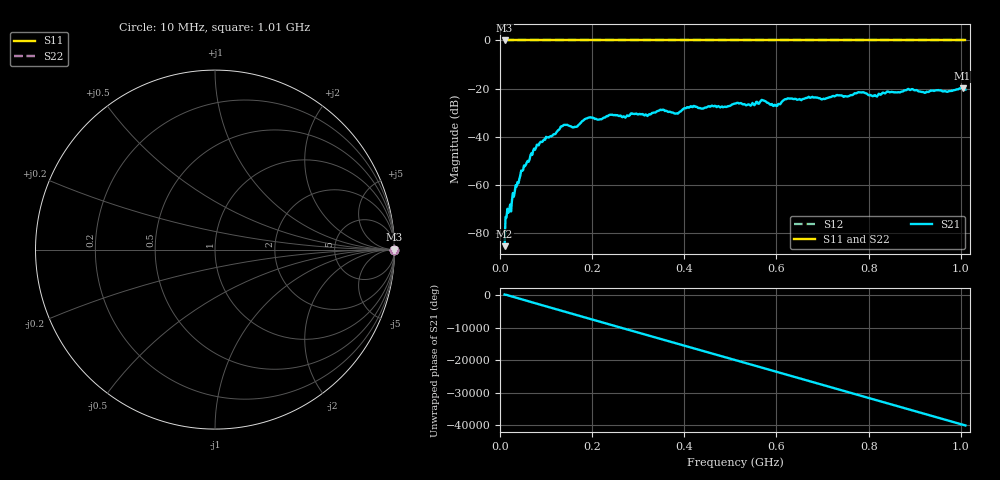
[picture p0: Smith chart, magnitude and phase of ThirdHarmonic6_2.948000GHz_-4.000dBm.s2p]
! 8/17/2025 8:16:50 AM
! C:\ANRITSUVNA\TEMP\TEMP.S2P
! CHANNEL.1
! TR.MEASUREMENT
! RAW.DATA
! RF.CORRECTION.OFF
! AVERAGING.OFF
! IF.BANDWIDTH: 5KHZ
! SWEEPTYPE:  FREQ.SWEEP(Linear)
! Reference Plane Port Info
! PORT:  PORT1  PORT2
! DISTANCE:  0  m  0  m
! TIME:  0  s  0  s
! PHASE.OFFSET:  0  deg.  0  deg.
! LOSS:  0  dB  0  dB
! REF.LOSS:  0  dB  0  dB
! REF.FREQ:  0  Hz  0  Hz
! Power Info
! POWER:  -20  dBm  -20  dBm
! EFF.POWER:  -20  dBm  -20  dBm
! SOURCE.ATTEN:  0  dB  0  dB
! TEST.ATTEN:  0  dB  0  dB
# GHZ S RI R 50.0
! FREQ.GHZ  S11RE  S11IM  S21RE  S21IM  S12RE  S12IM  S22RE  S22IM
!; PortSelection: Port_12
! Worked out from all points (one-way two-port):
!   501 points, 10 MHz to 1.01 GHz, reference 50 ohm
!   highest |S21| = -19.89 dB at 1.004 GHz (marker M1); lowest = -85.6 dB at 10 MHz (marker M2)
!   lowest |S11| = 0.0 dB at 10 MHz (marker M3)
!   |S11| at or under -10 dB: nowhere
!   |S22| runs from 0.0 to 0.0 dB; largest |S21 - S12| = 1.1
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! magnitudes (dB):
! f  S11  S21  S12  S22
! 10 MHz  0.0  -85.6  0.0  0.0
! 16 MHz  0.0  -70.1  0.0  0.0
! 48 MHz  0.0  -54.2  0.0  0.0
! 76 MHz  0.0  -45.5  0.0  0.0
! 136 MHz  0.0  -35.6  0.0  0.0
! 162 MHz  0.0  -36.0  0.0  0.0
! 178 MHz  0.0  -33.6  0.0  0.0
! 194 MHz  0.0  -32.1  0.0  0.0
! 344 MHz  0.0  -29.2  0.0  0.0
! 382 MHz  0.0  -30.4  0.0  0.0
! 418 MHz  0.0  -27.7  0.0  0.0
! 510 MHz  0.0  -26.3  0.0  0.0
! 548 MHz  0.0  -26.0  0.0  0.0
! 570 MHz  0.0  -24.8  0.0  0.0
! 598 MHz  0.0  -26.9  0.0  0.0
! 622 MHz  0.0  -24.4  0.0  0.0
! 678 MHz  0.0  -23.5  0.0  0.0
! 782 MHz  0.0  -21.6  0.0  0.0
! 814 MHz  0.0  -22.8  0.0  0.0
! 844 MHz  0.0  -21.4  0.0  0.0
! 1.004 GHz  0.0  -19.9  0.0  0.0
! 1.01 GHz  0.0  -20.5  0.0  0.0
